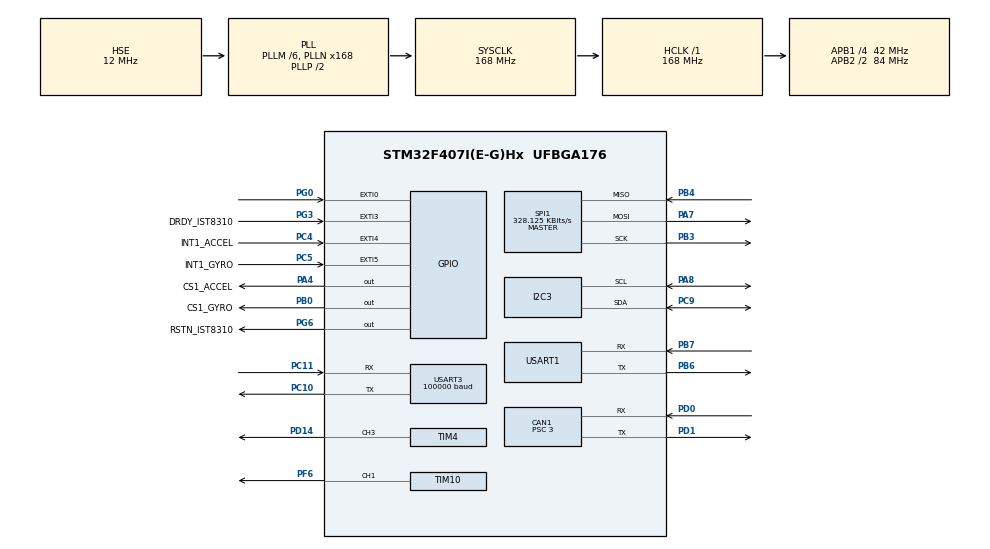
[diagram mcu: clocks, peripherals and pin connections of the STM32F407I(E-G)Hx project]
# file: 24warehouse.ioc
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CAN1.BS1=CAN_BS1_10TQ
CAN1.BS2=CAN_BS2_3TQ
CAN1.CalculateBaudRate=1000000
CAN1.CalculateTimeBit=1000
CAN1.CalculateTimeQuantum=71.42857142857143
CAN1.Prescaler=3
Dma.Request0=USART3_RX
Dma.Request1=SPI1_RX
Dma.Request2=SPI1_TX
Dma.SPI1_RX.1.Direction=DMA_PERIPH_TO_MEMORY
Dma.SPI1_RX.1.FIFOMode=DMA_FIFOMODE_DISABLE
Dma.SPI1_RX.1.Instance=DMA2_Stream2
Dma.SPI1_RX.1.MemDataAlignment=DMA_MDATAALIGN_BYTE
Dma.SPI1_RX.1.MemInc=DMA_MINC_ENABLE
Dma.SPI1_RX.1.Mode=DMA_NORMAL
Dma.SPI1_RX.1.PeriphDataAlignment=DMA_PDATAALIGN_BYTE
Dma.SPI1_RX.1.PeriphInc=DMA_PINC_DISABLE
Dma.SPI1_RX.1.Priority=DMA_PRIORITY_VERY_HIGH
Dma.SPI1_TX.2.Direction=DMA_MEMORY_TO_PERIPH
Dma.SPI1_TX.2.FIFOMode=DMA_FIFOMODE_DISABLE
Dma.SPI1_TX.2.Instance=DMA2_Stream3
Dma.SPI1_TX.2.MemDataAlignment=DMA_MDATAALIGN_BYTE
Dma.SPI1_TX.2.MemInc=DMA_MINC_ENABLE
Dma.SPI1_TX.2.Mode=DMA_NORMAL
Dma.SPI1_TX.2.PeriphDataAlignment=DMA_PDATAALIGN_BYTE
Dma.SPI1_TX.2.PeriphInc=DMA_PINC_DISABLE
Dma.SPI1_TX.2.Priority=DMA_PRIORITY_HIGH
Dma.USART3_RX.0.Direction=DMA_PERIPH_TO_MEMORY
Dma.USART3_RX.0.FIFOMode=DMA_FIFOMODE_DISABLE
Dma.USART3_RX.0.Instance=DMA1_Stream1
Dma.USART3_RX.0.MemDataAlignment=DMA_MDATAALIGN_BYTE
Dma.USART3_RX.0.MemInc=DMA_MINC_ENABLE
Dma.USART3_RX.0.Mode=DMA_NORMAL
Dma.USART3_RX.0.PeriphDataAlignment=DMA_PDATAALIGN_BYTE
Dma.USART3_RX.0.PeriphInc=DMA_PINC_DISABLE
Dma.USART3_RX.0.Priority=DMA_PRIORITY_HIGH
FREERTOS.INCLUDE_eTaskGetState=1
FREERTOS.INCLUDE_pcTaskGetTaskName=1
FREERTOS.INCLUDE_uxTaskGetStackHighWaterMark=1
FREERTOS.INCLUDE_vTaskCleanUpResources=1
FREERTOS.INCLUDE_vTaskDelayUntil=1
FREERTOS.INCLUDE_xEventGroupSetBitFromISR=1
FREERTOS.INCLUDE_xQueueGetMutexHolder=1
FREERTOS.INCLUDE_xSemaphoreGetMutexHolder=1
FREERTOS.INCLUDE_xTaskAbortDelay=1
FREERTOS.INCLUDE_xTaskGetCurrentTaskHandle=1
FREERTOS.INCLUDE_xTaskGetHandle=1
FREERTOS.INCLUDE_xTimerPendFunctionCall=1
FREERTOS.Tasks01=Prepare_Task_,-3,128,Prepare_Task,As weak,NULL,Dynamic,NULL,NULL
FREERTOS.configUSE_TIMERS=1
I2C3.I2C_Mode=I2C_Fast
Mcu.Family=STM32F4
Mcu.Name=STM32F407I(E-G)Hx
Mcu.Package=UFBGA176
NVIC.CAN1_RX0_IRQn=true\:6\:0\:true\:false\:true\:true\:true\:true\:true
NVIC.DMA1_Stream1_IRQn=true\:5\:0\:false\:false\:true\:true\:false\:true\:true
NVIC.DMA2_Stream2_IRQn=true\:5\:0\:true\:false\:true\:false\:false\:true\:true
NVIC.DMA2_Stream3_IRQn=true\:5\:0\:false\:false\:true\:true\:false\:true\:true
NVIC.EXTI0_IRQn=true\:6\:0\:true\:false\:true\:true\:true\:true\:true
NVIC.EXTI3_IRQn=true\:5\:0\:false\:false\:true\:true\:true\:true\:true
NVIC.EXTI4_IRQn=true\:5\:0\:false\:false\:true\:true\:true\:true\:true
NVIC.EXTI9_5_IRQn=true\:5\:0\:false\:false\:true\:true\:true\:true\:true
NVIC.PriorityGroup=NVIC_PRIORITYGROUP_4
NVIC.TIM6_DAC_IRQn=true\:15\:0\:false\:false\:true\:false\:false\:true\:true
NVIC.TimeBase=TIM6_DAC_IRQn
NVIC.TimeBaseIP=TIM6
NVIC.USART3_IRQn=true\:5\:0\:false\:false\:true\:true\:true\:true\:true
PA13.Mode=Serial_Wire
PA13.Signal=SYS_JTMS-SWDIO
PA14.Mode=Serial_Wire
PA14.Signal=SYS_JTCK-SWCLK
PA4.GPIO_Label=CS1_ACCEL
PA4.GPIO_PuPd=GPIO_PULLUP
PA4.GPIO_Speed=GPIO_SPEED_FREQ_HIGH
PA4.PinState=GPIO_PIN_SET
PA4.Signal=GPIO_Output
PA7.GPIO_PuPd=GPIO_PULLUP
PA7.Mode=Full_Duplex_Master
PA7.Signal=SPI1_MOSI
PA8.GPIO_Pu=GPIO_PULLUP
PA8.Mode=I2C
PA8.Signal=I2C3_SCL
PB0.GPIO_Label=CS1_GYRO
PB0.GPIO_PuPd=GPIO_PULLUP
PB0.GPIO_Speed=GPIO_SPEED_FREQ_HIGH
PB0.PinState=GPIO_PIN_SET
PB0.Signal=GPIO_Output
PB3.GPIO_PuPd=GPIO_PULLUP
PB3.Mode=Full_Duplex_Master
PB3.Signal=SPI1_SCK
PB4.GPIO_PuPd=GPIO_PULLUP
PB4.Mode=Full_Duplex_Master
PB4.Signal=SPI1_MISO
PB6.Mode=Asynchronous
PB6.Signal=USART1_TX
PB7.Mode=Asynchronous
PB7.Signal=USART1_RX
PC10.Mode=Asynchronous
PC10.Signal=USART3_TX
PC11.Mode=Asynchronous
PC11.Signal=USART3_RX
PC4.GPIO_Label=INT1_ACCEL
PC4.GPIO_ModeDefaultEXTI=GPIO_MODE_IT_FALLING
PC4.GPIO_PuPd=GPIO_PULLUP
PC4.Signal=GPXTI4
PC5.GPIO_Label=INT1_GYRO
PC5.GPIO_ModeDefaultEXTI=GPIO_MODE_IT_FALLING
PC5.GPIO_PuPd=GPIO_PULLUP
PC5.Signal=GPXTI5
PC9.GPIO_Pu=GPIO_PULLUP
PC9.Mode=I2C
PC9.Signal=I2C3_SDA
PD0.Mode=CAN_Activate
PD0.Signal=CAN1_RX
PD1.Mode=CAN_Activate
PD1.Signal=CAN1_TX
PD14.GPIO_PuPd=GPIO_PULLUP
PD14.GPIO_Speed=GPIO_SPEED_FREQ_HIGH
PD14.Signal=S_TIM4_CH3
PF6.GPIO_PuPd=GPIO_PULLUP
PF6.GPIO_Speed=GPIO_SPEED_FREQ_HIGH
PF6.Signal=S_TIM10_CH1
PG0.GPIO_ModeDefaultEXTI=GPIO_MODE_IT_FALLING
PG0.GPIO_PuPd=GPIO_PULLUP
PG0.Signal=GPXTI0
PG3.GPIO_Label=DRDY_IST8310
PG3.GPIO_ModeDefaultEXTI=GPIO_MODE_IT_FALLING
PG3.GPIO_PuPd=GPIO_PULLUP
PG3.Signal=GPXTI3
PG6.GPIO_Label=RSTN_IST8310
PG6.GPIO_PuPd=GPIO_PULLUP
PG6.GPIO_Speed=GPIO_SPEED_FREQ_MEDIUM
PG6.PinState=GPIO_PIN_SET
PG6.Signal=GPIO_Output
PH0-OSC_IN.Mode=HSE-External-Oscillator
PH0-OSC_IN.Signal=RCC_OSC_IN
PH1-OSC_OUT.Mode=HSE-External-Oscillator
PH1-OSC_OUT.Signal=RCC_OSC_OUT
ProjectManager.HeapSize=0x200
ProjectManager.StackSize=0x400
ProjectManager.TargetToolchain=MDK-ARM V5.32
RCC.48MHZClocksFreq_Value=84000000
RCC.AHBFreq_Value=168000000
RCC.APB1CLKDivider=RCC_HCLK_DIV4
RCC.APB1Freq_Value=42000000
RCC.APB1TimFreq_Value=84000000
RCC.APB2CLKDivider=RCC_HCLK_DIV2
RCC.APB2Freq_Value=84000000
RCC.APB2TimFreq_Value=168000000
RCC.CortexFreq_Value=168000000
RCC.HCLKFreq_Value=168000000
RCC.HSE_VALUE=12000000
RCC.HSI_VALUE=16000000
RCC.LSE_VALUE=32768
RCC.PLLM=6
RCC.PLLN=168
RCC.PLLSourceVirtual=RCC_PLLSOURCE_HSE
RCC.SYSCLKFreq_VALUE=168000000
RCC.SYSCLKSource=RCC_SYSCLKSOURCE_PLLCLK
RCC.VCOOutputFreq_Value=336000000
SH.S_TIM10_CH1.0=TIM10_CH1,PWM Generation1 CH1
SH.S_TIM4_CH3.0=TIM4_CH3,PWM Generation3 CH3
SPI1.BaudRatePrescaler=SPI_BAUDRATEPRESCALER_256
SPI1.CLKPhase=SPI_PHASE_2EDGE
SPI1.CLKPolarity=SPI_POLARITY_HIGH
SPI1.CalculateBaudRate=328.125 KBits/s
SPI1.Direction=SPI_DIRECTION_2LINES
SPI1.Mode=SPI_MODE_MASTER
SPI1.VirtualType=VM_MASTER
TIM10.Channel=TIM_CHANNEL_1
TIM10.Period=5000-1
TIM4.Channel-PWM\ Generation3\ CH3=TIM_CHANNEL_3
TIM4.Prescaler=168-1
USART1.VirtualMode=VM_ASYNC
USART3.BaudRate=100000
USART3.Parity=PARITY_EVEN
USART3.VirtualMode=VM_ASYNC
VP_FREERTOS_VS_CMSIS_V1.Mode=CMSIS_V1
VP_SYS_VS_tim6.Mode=TIM6
VP_TIM10_VS_ClockSourceINT.Mode=Enable_Timer
VP_TIM4_VS_ClockSourceINT.Mode=Internal
board=custom

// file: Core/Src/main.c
/* USER CODE BEGIN Header */
/**
  ******************************************************************************
  * @file           : main.c
  * @brief          : Main program body
  ******************************************************************************
  * @attention
  *
  * Copyright (c) 2024 STMicroelectronics.
  * All rights reserved.
  *
  * This software is licensed under terms that can be found in the LICENSE file
  * in the root directory of this software component.
  * If no LICENSE file comes with this software, it is provided AS-IS.
  *
  ******************************************************************************
  */
/* USER CODE END Header */
#include "main.h"
#include "cmsis_os.h"
#include "can.h"
#include "dma.h"
#include "i2c.h"
#include "spi.h"
#include "tim.h"
#include "usart.h"
#include "gpio.h"

/* USER CODE BEGIN Includes */

#include "bsp_can.h"
#include "INS_task.h"
#include "calibrate_task.h"
#include "bsp_delay.h"

/* USER CODE END Includes */

void SystemClock_Config(void);
void MX_FREERTOS_Init(void);

int main(void)
{

  /* MCU Configuration--------------------------------------------------------*/

  /* Reset of all peripherals, Initializes the Flash interface and the Systick. */
  HAL_Init();

  /* Configure the system clock */
  SystemClock_Config();

  /* Initialize all configured peripherals */
  MX_GPIO_Init();
  MX_DMA_Init();
  MX_USART1_UART_Init();
  MX_CAN1_Init();
  MX_USART3_UART_Init();
  MX_I2C3_Init();
  MX_SPI1_Init();
  MX_TIM10_Init();
  MX_TIM4_Init();
  /* USER CODE BEGIN 2 */

	can_filter_init();
	delay_init();
    cali_param_init();

  /* USER CODE END 2 */

  /* Call init function for freertos objects (in cmsis_os2.c) */
  MX_FREERTOS_Init();

  /* Start scheduler */
  osKernelStart();

  /* We should never get here as control is now taken by the scheduler */

  /* Infinite loop */
  while (1)
  {

  }
}

void SystemClock_Config(void)
{
  RCC_OscInitTypeDef RCC_OscInitStruct = {0};
  RCC_ClkInitTypeDef RCC_ClkInitStruct = {0};

  /** Configure the main internal regulator output voltage
  */
  __HAL_RCC_PWR_CLK_ENABLE();
  __HAL_PWR_VOLTAGESCALING_CONFIG(PWR_REGULATOR_VOLTAGE_SCALE1);

  /** Initializes the RCC Oscillators according to the specified parameters
  * in the RCC_OscInitTypeDef structure.
  */
  RCC_OscInitStruct.OscillatorType = RCC_OSCILLATORTYPE_HSE;
  RCC_OscInitStruct.HSEState = RCC_HSE_ON;
  RCC_OscInitStruct.PLL.PLLState = RCC_PLL_ON;
  RCC_OscInitStruct.PLL.PLLSource = RCC_PLLSOURCE_HSE;
  RCC_OscInitStruct.PLL.PLLM = 6;
  RCC_OscInitStruct.PLL.PLLN = 168;
  RCC_OscInitStruct.PLL.PLLP = RCC_PLLP_DIV2;
  RCC_OscInitStruct.PLL.PLLQ = 4;
  if (HAL_RCC_OscConfig(&RCC_OscInitStruct) != HAL_OK)
  {
    Error_Handler();
  }

  /** Initializes the CPU, AHB and APB buses clocks
  */
  RCC_ClkInitStruct.ClockType = RCC_CLOCKTYPE_HCLK|RCC_CLOCKTYPE_SYSCLK
                              |RCC_CLOCKTYPE_PCLK1|RCC_CLOCKTYPE_PCLK2;
  RCC_ClkInitStruct.SYSCLKSource = RCC_SYSCLKSOURCE_PLLCLK;
  RCC_ClkInitStruct.AHBCLKDivider = RCC_SYSCLK_DIV1;
  RCC_ClkInitStruct.APB1CLKDivider = RCC_HCLK_DIV4;
  RCC_ClkInitStruct.APB2CLKDivider = RCC_HCLK_DIV2;

  if (HAL_RCC_ClockConfig(&RCC_ClkInitStruct, FLASH_LATENCY_5) != HAL_OK)
  {
    Error_Handler();
  }
}

void HAL_TIM_PeriodElapsedCallback(TIM_HandleTypeDef *htim)
{
  if (htim->Instance == TIM6) {
    HAL_IncTick();
  }
}

void Error_Handler(void)
{
  __disable_irq();
  while (1)
  {
  }
}

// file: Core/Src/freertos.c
/* USER CODE BEGIN Header */
/**
  ******************************************************************************
  * File Name          : freertos.c
  * Description        : Code for freertos applications
  ******************************************************************************
  * @attention
  *
  * Copyright (c) 2024 STMicroelectronics.
  * All rights reserved.
  *
  * This software is licensed under terms that can be found in the LICENSE file
  * in the root directory of this software component.
  * If no LICENSE file comes with this software, it is provided AS-IS.
  *
  ******************************************************************************
  */
/* USER CODE END Header */

#include "FreeRTOS.h"
#include "task.h"
#include "main.h"
#include "cmsis_os.h"

/* USER CODE BEGIN Includes */

#include "calibrate_task.h"
#include "Chassis_Task.h"
#include "INS_task.h"

/* USER CODE END Includes */

/* USER CODE BEGIN Variables */

osThreadId calibrate_tast_handle;
osThreadId chassisTaskHandle;
osThreadId imuTaskHandle;

/* USER CODE END Variables */
osThreadId Prepare_Task_Handle;

void Prepare_Task(void const * argument);

void MX_FREERTOS_Init(void); /* (MISRA C 2004 rule 8.1) */

/* GetIdleTaskMemory prototype (linked to static allocation support) */
void vApplicationGetIdleTaskMemory( StaticTask_t **ppxIdleTaskTCBBuffer, StackType_t **ppxIdleTaskStackBuffer, uint32_t *pulIdleTaskStackSize );

/* GetTimerTaskMemory prototype (linked to static allocation support) */
void vApplicationGetTimerTaskMemory( StaticTask_t **ppxTimerTaskTCBBuffer, StackType_t **ppxTimerTaskStackBuffer, uint32_t *pulTimerTaskStackSize );

/* USER CODE BEGIN GET_IDLE_TASK_MEMORY */
static StaticTask_t xIdleTaskTCBBuffer;
static StackType_t xIdleStack[configMINIMAL_STACK_SIZE];

void vApplicationGetIdleTaskMemory( StaticTask_t **ppxIdleTaskTCBBuffer, StackType_t **ppxIdleTaskStackBuffer, uint32_t *pulIdleTaskStackSize )
{
  *ppxIdleTaskTCBBuffer = &xIdleTaskTCBBuffer;
  *ppxIdleTaskStackBuffer = &xIdleStack[0];
  *pulIdleTaskStackSize = configMINIMAL_STACK_SIZE;
  /* place for user code */
}
/* USER CODE END GET_IDLE_TASK_MEMORY */

/* USER CODE BEGIN GET_TIMER_TASK_MEMORY */
static StaticTask_t xTimerTaskTCBBuffer;
static StackType_t xTimerStack[configTIMER_TASK_STACK_DEPTH];

void vApplicationGetTimerTaskMemory( StaticTask_t **ppxTimerTaskTCBBuffer, StackType_t **ppxTimerTaskStackBuffer, uint32_t *pulTimerTaskStackSize )
{
  *ppxTimerTaskTCBBuffer = &xTimerTaskTCBBuffer;
  *ppxTimerTaskStackBuffer = &xTimerStack[0];
  *pulTimerTaskStackSize = configTIMER_TASK_STACK_DEPTH;
  /* place for user code */
}
/* USER CODE END GET_TIMER_TASK_MEMORY */

void MX_FREERTOS_Init(void) {

  /* Create the thread(s) */
  /* definition and creation of Prepare_Task_ */
  osThreadDef(Prepare_Task_, Prepare_Task, osPriorityIdle, 0, 128);
  Prepare_Task_Handle = osThreadCreate(osThread(Prepare_Task_), NULL);

  /* USER CODE BEGIN RTOS_THREADS */
	osThreadDef(cali, calibrate_task, osPriorityNormal, 0, 512);
    calibrate_tast_handle = osThreadCreate(osThread(cali), NULL);

	osThreadDef(ChassisTask, chassis_task, osPriorityAboveNormal, 0, 512);
    chassisTaskHandle = osThreadCreate(osThread(ChassisTask), NULL);

	osThreadDef(imuTask, INS_task, osPriorityRealtime, 0, 1024);
    imuTaskHandle = osThreadCreate(osThread(imuTask), NULL);
  /* add threads, ... */

  /* USER CODE END RTOS_THREADS */

}

__weak void Prepare_Task(void const * argument)
{
  for(;;)
  {
    osDelay(1);
  }
}
